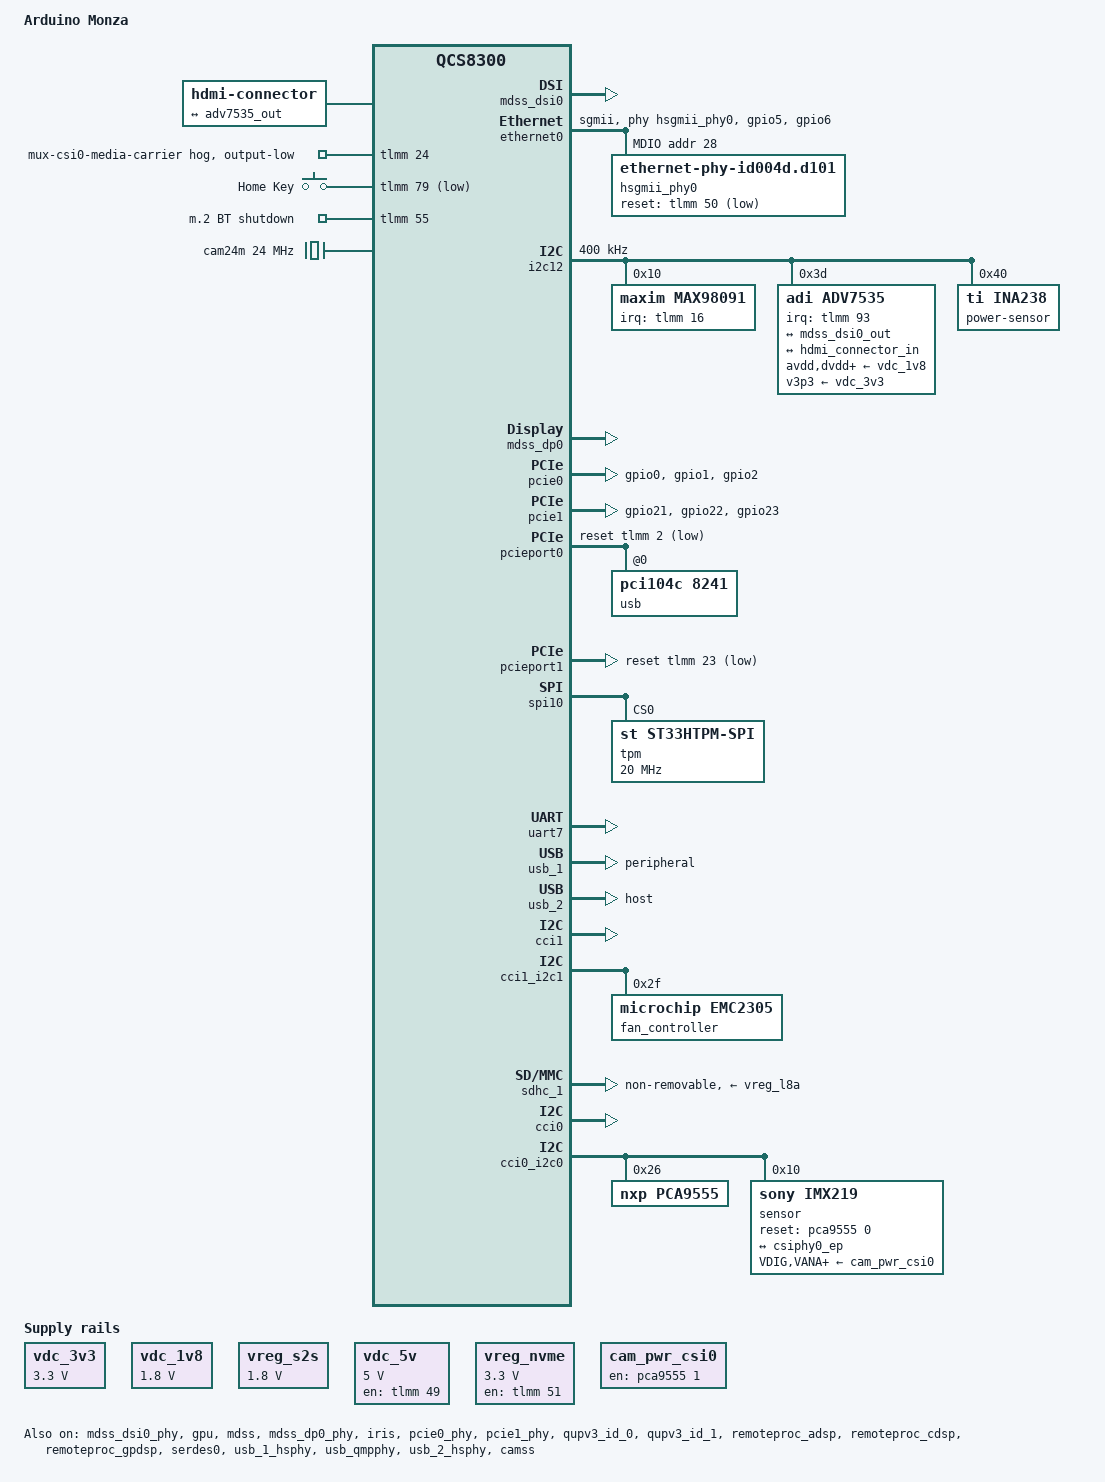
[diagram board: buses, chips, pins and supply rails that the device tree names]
// SPDX-License-Identifier: BSD-3-Clause
/*
 * Copyright (c) Qualcomm Technologies, Inc. and/or its subsidiaries.
 */

/dts-v1/;

#include <dt-bindings/gpio/gpio.h>
#include <dt-bindings/pwm/pwm.h>
#include <dt-bindings/sound/qcom,q6afe.h>
#include <dt-bindings/regulator/qcom,rpmh-regulator.h>
#include <dt-bindings/sound/qcom,q6dsp-lpass-ports.h>

#include "monaco.dtsi"
#include "monaco-pmics.dtsi"

/ {
	model = "Arduino Monza";
	compatible = "arduino,monza", "qcom,qcs8300";

	aliases {
		ethernet0 = &ethernet0;
		i2c1 = &i2c1;
		serial0 = &uart7;
	};

	chosen {
		stdout-path = "serial0:115200n8";
	};

	sound {
		compatible = "qcom,qcs8275-sndcard";
		model = "arduino-monza";
		audio-routing =	
				"IN12",  "Headset Mic12",
				"Headset Mic12",  "MICBIAS",
				"IN56",  "Headset Mic56",
				"Headset Mic56",  "MICBIAS",
				"MIC1",  "MICBIAS",
				"Headphone",  "HPL",
				"Headphone",  "HPR",
				"Receiver",  "RCVL",
				"Receiver",  "RCVR",
				"Speaker",  "SPKL",
				"Speaker",  "SPKR";

		pinctrl-0 = <&quad_mi2s_active>, <&quad_mclk_active>,  <&lpi_i2s4_active>;
		pinctrl-names = "default";

		pri-i2s-playback-dai-link {
			link-name = "Analog Playback";

			codec {
				sound-dai = <&max98091>;
			};

			cpu {
				sound-dai = <&q6apmbedai LPI_MI2S_RX_0>;
			};

			platform {
				sound-dai = <&q6apm>;
			};
		};

		pri-i2s-capture-dai-link {
			link-name = "Analog Capture";

			codec {
				sound-dai = <&max98091>;
			};

			cpu {
				sound-dai = <&q6apmbedai LPI_MI2S_TX_0>;
			};

			platform {
				sound-dai = <&q6apm>;
			};
		};

		hdmi-mi2s-playback-dai-link {
			link-name = "HDMI Playback";

			codec {
				sound-dai = <&adv7535>;
			};

			cpu {
				sound-dai = <&q6apmbedai LPI_MI2S_RX_4>;
			};

			platform {
				sound-dai = <&q6apm>;
			};
		};
	};

	vdc_3v3: regulator-vdc-3v3 {
		compatible = "regulator-fixed";
		regulator-name = "vdc_3v3";
		regulator-min-microvolt = <3300000>;
		regulator-max-microvolt = <3300000>;
		regulator-always-on;
		regulator-boot-on;
	};

	vdc_1v8: regulator-vdc-1v8 {
		compatible = "regulator-fixed";
		regulator-name = "vdc_1v8";
		regulator-min-microvolt = <1800000>;
		regulator-max-microvolt = <1800000>;
		regulator-always-on;
		regulator-boot-on;
	};
	/* This comes from a PMIC handled within the SAIL domain */
	vreg_s2s: vreg-s2s {
		compatible = "regulator-fixed";
		regulator-name = "vreg_s2s";

		regulator-min-microvolt = <1800000>;
		regulator-max-microvolt = <1800000>;
	};

	vdc_5v: vdc-5v {
		compatible = "regulator-fixed";
		regulator-name = "vdc_5v";

		regulator-min-microvolt = <5000000>;
		regulator-max-microvolt = <5000000>;
		gpio = <&tlmm 49 GPIO_ACTIVE_HIGH>;
		enable-active-high;
		regulator-always-on;
	};

	vreg_nvme: vreg-nvme {
		compatible = "regulator-fixed";
		regulator-name = "vreg_nvme";

		regulator-min-microvolt = <3300000>;
		regulator-max-microvolt = <3300000>;
		startup-delay-us = <20000>;
		enable-active-high;
		gpio = <&tlmm 51 GPIO_ACTIVE_HIGH>;
		regulator-always-on;
		regulator-boot-on;
	};


	hdmi-connector {
		compatible = "hdmi-connector";
		label = "hdmi";
		type = "a";

		port {
			hdmi_connector_in: endpoint {
				remote-endpoint = <&adv7535_out>;
			};
		};

		/* HPD is going to the bridge and GPIO_41 */
	};

	/* Should be moved in a proper pcie-m2-e-connector */
};

&apps_rsc {
	regulators-0 {
		compatible = "qcom,pmm8654au-rpmh-regulators";
		qcom,pmic-id = "a";

		vreg_l3a: ldo3 {
			regulator-name = "vreg_l3a";
			regulator-min-microvolt = <1200000>;
			regulator-max-microvolt = <1200000>;
			regulator-initial-mode = <RPMH_REGULATOR_MODE_HPM>;
			regulator-allow-set-load;
			regulator-allowed-modes = <RPMH_REGULATOR_MODE_HPM>;
		};

		vreg_l4a: ldo4 {
			regulator-name = "vreg_l4a";
			regulator-min-microvolt = <880000>;
			regulator-max-microvolt = <912000>;
			regulator-initial-mode = <RPMH_REGULATOR_MODE_HPM>;
			regulator-allow-set-load;
			regulator-allowed-modes = <RPMH_REGULATOR_MODE_HPM>;
		};

		vreg_l5a: ldo5 {
			regulator-name = "vreg_l5a";
			regulator-min-microvolt = <1200000>;
			regulator-max-microvolt = <1200000>;
			regulator-initial-mode = <RPMH_REGULATOR_MODE_HPM>;
			regulator-allow-set-load;
			regulator-allowed-modes = <RPMH_REGULATOR_MODE_HPM>;
		};

		vreg_l6a: ldo6 {
			regulator-name = "vreg_l6a";
			regulator-min-microvolt = <880000>;
			regulator-max-microvolt = <912000>;
			regulator-initial-mode = <RPMH_REGULATOR_MODE_HPM>;
			regulator-allow-set-load;
			regulator-allowed-modes = <RPMH_REGULATOR_MODE_HPM>;
		};

		vreg_l7a: ldo7 {
			regulator-name = "vreg_l7a";
			regulator-min-microvolt = <880000>;
			regulator-max-microvolt = <912000>;
			regulator-initial-mode = <RPMH_REGULATOR_MODE_HPM>;
			regulator-allow-set-load;
			regulator-allowed-modes = <RPMH_REGULATOR_MODE_HPM>;
		};

		vreg_l8a: ldo8 {
			regulator-name = "vreg_l8a";
			regulator-min-microvolt = <2504000>;
			regulator-max-microvolt = <2960000>;
			regulator-initial-mode = <RPMH_REGULATOR_MODE_HPM>;
			regulator-allow-set-load;
			regulator-allowed-modes = <RPMH_REGULATOR_MODE_HPM>;
		};

		vreg_l9a: ldo9 {
			regulator-name = "vreg_l9a";
			regulator-min-microvolt = <2970000>;
			regulator-max-microvolt = <3072000>;
			regulator-initial-mode = <RPMH_REGULATOR_MODE_HPM>;
			regulator-allow-set-load;
			regulator-allowed-modes = <RPMH_REGULATOR_MODE_HPM>;
		};
	};

	regulators-1 {
		compatible = "qcom,pmm8654au-rpmh-regulators";
		qcom,pmic-id = "c";

		vreg_s5c: smps5 {
			regulator-name = "vreg_s5c";
			regulator-min-microvolt = <1104000>;
			regulator-max-microvolt = <1104000>;
			regulator-initial-mode = <RPMH_REGULATOR_MODE_HPM>;
		};

		vreg_l1c: ldo1 {
			regulator-name = "vreg_l1c";
			regulator-min-microvolt = <300000>;
			regulator-max-microvolt = <512000>;
			regulator-initial-mode = <RPMH_REGULATOR_MODE_HPM>;
			regulator-allow-set-load;
			regulator-allowed-modes = <RPMH_REGULATOR_MODE_HPM>;
		};

		vreg_l2c: ldo2 {
			regulator-name = "vreg_l2c";
			regulator-min-microvolt = <900000>;
			regulator-max-microvolt = <904000>;
			regulator-initial-mode = <RPMH_REGULATOR_MODE_HPM>;
			regulator-allow-set-load;
			regulator-allowed-modes = <RPMH_REGULATOR_MODE_HPM>;
		};

		vreg_l4c: ldo4 {
			regulator-name = "vreg_l4c";
			regulator-min-microvolt = <1200000>;
			regulator-max-microvolt = <1200000>;
			regulator-initial-mode = <RPMH_REGULATOR_MODE_HPM>;
			regulator-allow-set-load;
			regulator-allowed-modes = <RPMH_REGULATOR_MODE_HPM>;
		};

		vreg_l7c: ldo7 {
			regulator-name = "vreg_l7c";
			regulator-min-microvolt = <1800000>;
			regulator-max-microvolt = <1800000>;
			regulator-initial-mode = <RPMH_REGULATOR_MODE_HPM>;
			regulator-allow-set-load;
			regulator-allowed-modes = <RPMH_REGULATOR_MODE_HPM>;
		};

		vreg_l8c: ldo8 {
			regulator-name = "vreg_l8c";
			regulator-min-microvolt = <1800000>;
			regulator-max-microvolt = <1800000>;
			regulator-initial-mode = <RPMH_REGULATOR_MODE_HPM>;
			regulator-allow-set-load;
			regulator-allowed-modes = <RPMH_REGULATOR_MODE_HPM>;
		};

		vreg_l9c: ldo9 {
			regulator-name = "vreg_l9c";
			regulator-min-microvolt = <1800000>;
			regulator-max-microvolt = <1800000>;
			regulator-initial-mode = <RPMH_REGULATOR_MODE_HPM>;
			regulator-allow-set-load;
			regulator-allowed-modes = <RPMH_REGULATOR_MODE_HPM>;
		};
	};
};

&mdss_dsi0 {
	status = "okay";
};

&mdss_dsi0_out {
	remote-endpoint = <&adv7535_in>;
	data-lanes = <0 1 2 3>;
};

&mdss_dsi0_phy {
	vdss-supply = <&vreg_l4a>;
	status = "okay";
};

&ethernet0 {
	phy-mode = "sgmii"; /* Should be phy-mode = "2500base-x", but cf https://lists.infradead.org/pipermail/linux-arm-kernel/2025-November/1077340.html */
	phy-handle = <&hsgmii_phy0>;

	pinctrl-0 = <&ethernet0_default>;
	pinctrl-names = "default";

	snps,mtl-rx-config = <&mtl_rx_setup>;
	snps,mtl-tx-config = <&mtl_tx_setup>;
//	nvmem-cells = <&mac_addr0>;
//	nvmem-cell-names = "mac-address";

	status = "okay";

	mdio {
		compatible = "snps,dwmac-mdio";
		#address-cells = <1>;
		#size-cells = <0>;

		hsgmii_phy0: ethernet-phy@1c {
			compatible = "ethernet-phy-id004d.d101";
			reg = <0x1c>;
			reset-gpios = <&tlmm 50 GPIO_ACTIVE_LOW>;
			reset-assert-us = <11000>;
			reset-deassert-us = <70000>;
		};
	};

	mtl_rx_setup: rx-queues-config {
		snps,rx-queues-to-use = <4>;
		snps,rx-sched-sp;

		queue0 {
			snps,dcb-algorithm;
			snps,map-to-dma-channel = <0x0>;
			snps,route-up;
			snps,priority = <0x1>;
		};

		queue1 {
			snps,dcb-algorithm;
			snps,map-to-dma-channel = <0x1>;
			snps,route-ptp;
		};

		queue2 {
			snps,avb-algorithm;
			snps,map-to-dma-channel = <0x2>;
			snps,route-avcp;
		};

		queue3 {
			snps,avb-algorithm;
			snps,map-to-dma-channel = <0x3>;
			snps,priority = <0xc>;
		};
	};

	mtl_tx_setup: tx-queues-config {
		snps,tx-queues-to-use = <4>;

		queue0 {
			snps,dcb-algorithm;
		};

		queue1 {
			snps,dcb-algorithm;
		};

		queue2 {
			snps,avb-algorithm;
			snps,send_slope = <0x1000>;
			snps,idle_slope = <0x1000>;
			snps,high_credit = <0x3e800>;
			snps,low_credit = <0xffc18000>;
		};

		queue3 {
			snps,avb-algorithm;
			snps,send_slope = <0x1000>;
			snps,idle_slope = <0x1000>;
			snps,high_credit = <0x3e800>;
			snps,low_credit = <0xffc18000>;
		};
	};
};

&gpi_dma0 {
	status = "okay";
};

&gpi_dma1 {
	status = "okay";
};

&gpu {
	status = "okay";
};

&gpu_zap_shader {
	firmware-name = "qcom/qcs8300/a623_zap.mbn";
};

&i2c12 {
	status = "okay";

	clock-frequency = <400000>;

	max98091: audio-codec@10 {
		compatible = "maxim,max98091";
		reg = <0x10>;
		pinctrl-0 = <&max98091_default>;
		pinctrl-names = "default";
		interrupts-extended = <&tlmm 16 IRQ_TYPE_LEVEL_HIGH>; /* GPIO_16 */
		//FIXME move this clk handling to machine driver.
		clocks = <&q6prmcc LPASS_CLK_ID_MCLK_3 LPASS_CLK_ATTRIBUTE_COUPLE_NO>;
		clock-names = "mclk";
		#sound-dai-cells = <0>;
	};

	adv7535: bridge@3d {
		compatible = "adi,adv7535";
		reg = <0x3d>;
		pinctrl-0 = <&adv7535_default>;
		pinctrl-names = "default";
		interrupts-extended = <&tlmm 93 IRQ_TYPE_EDGE_FALLING>;
		avdd-supply = <&vdc_1v8>;
		dvdd-supply = <&vdc_1v8>;
		pvdd-supply = <&vdc_1v8>;
		a2vdd-supply = <&vdc_1v8>;
		v3p3-supply = <&vdc_3v3>;
		v1p2-supply = <&vdc_1v8>;
		adi,dsi-lanes = <4>;
		#sound-dai-cells = <0>;

		ports {
			#address-cells = <1>;
			#size-cells = <0>;

			port@0 {
				reg = <0>;
				adv7535_in: endpoint {
					remote-endpoint = <&mdss_dsi0_out>;
				};
			};

			port@1 {
				reg = <1>;
				adv7535_out: endpoint {
					remote-endpoint = <&hdmi_connector_in>;
				};
			};
		};
	};

	power-sensor@40 {
		compatible = "ti,ina238";
		reg = <0x40>;
		shunt-resistor = <2000>;
	};
};


&i2c1 {
	pinctrl-0 = <&qup_i2c1_default>;
	pinctrl-names = "default";
	
	status = "disabled";
};

&i2c15 {
	pinctrl-0 = <&qup_i2c15_default>;
	pinctrl-names = "default";

	status = "disabled";

	expander0: gpio@38 {
		compatible = "ti,tca9538";
		reg = <0x38>;
		#gpio-cells = <2>;
		gpio-controller;
	};

	expander1: gpio@39 {
		compatible = "ti,tca9538";
		reg = <0x39>;
		#gpio-cells = <2>;
		gpio-controller;
	};

	expander2: gpio@3a {
		compatible = "ti,tca9538";
		reg = <0x3a>;
		#gpio-cells = <2>;
		gpio-controller;
	};

	expander3: gpio@3b {
		compatible = "ti,tca9538";
		reg = <0x3b>;
		#gpio-cells = <2>;
		gpio-controller;
	};

	expander4: gpio@3c {
		compatible = "ti,tca9538";
		reg = <0x3c>;
		#gpio-cells = <2>;
		gpio-controller;
	};

	expander5: gpio@3d {
		compatible = "ti,tca9538";
		reg = <0x3d>;
		#gpio-cells = <2>;
		gpio-controller;
	};

	expander6: gpio@3e {
		compatible = "ti,tca9538";
		reg = <0x3e>;
		#gpio-cells = <2>;
		gpio-controller;
	};
};

&mdss {
	status = "okay";
};

&mdss_dp0 {
	pinctrl-0 = <&dp_hot_plug_det>;
	pinctrl-names = "default";

	status = "okay";
};

&mdss_dp0_out {
	data-lanes = <0 1 2 3>;
	link-frequencies = /bits/ 64 <1620000000 2700000000 5400000000 8100000000>;
};

&mdss_dp0_phy {
	vdda-phy-supply = <&vreg_l5a>;
	vdda-pll-supply = <&vreg_l4a>;

	status = "okay";
};

&iris {
	status = "okay";
};

&pcie0 {
	pinctrl-0 = <&pcie0_default_state>;
	pinctrl-names = "default";
	iommu-map = <0x0 &pcie_smmu 0x0000 0x1>,
                    <0x100 &pcie_smmu 0x0001 0x1>,
                    <0x200 &pcie_smmu 0x0007 0x1>,
                    <0x208 &pcie_smmu 0x0002 0x1>,
                    <0x210 &pcie_smmu 0x0003 0x1>,
                    <0x218 &pcie_smmu 0x0004 0x1>,
                    <0x300 &pcie_smmu 0x0005 0x1>,
                    <0x400 &pcie_smmu 0x0006 0x1>;
	status = "okay";
};

&pcie0_phy {
	vdda-phy-supply = <&vreg_l6a>;
	vdda-pll-supply = <&vreg_l5a>;

	status = "okay";
};

&pcie1 {
	pinctrl-0 = <&pcie1_default_state>;
	pinctrl-names = "default";

	status = "okay";
};

&pcie1_phy {
	vdda-phy-supply = <&vreg_l6a>;
	vdda-pll-supply = <&vreg_l5a>;

	status = "okay";
};

&pcieport0 {
	reset-gpios = <&tlmm 2 GPIO_ACTIVE_LOW>;
	wake-gpios = <&tlmm 0 GPIO_ACTIVE_HIGH>;
};

&pcieport1 {
	reset-gpios = <&tlmm 23 GPIO_ACTIVE_LOW>;
	wake-gpios = <&tlmm 21 GPIO_ACTIVE_HIGH>;
};

&qup_i2c0_data_clk {
	drive-strength = <2>;
	bias-pull-up;
};

&qupv3_id_0 {
	firmware-name = "qcom/qcs8300/qupv3fw.elf";
	status = "okay";
};

&qupv3_id_1 {
	firmware-name = "qcom/qcs8300/qupv3fw.elf";
	status = "okay";
};

&remoteproc_adsp {
	firmware-name = "qcom/qcs8300/adsp.mbn";

	status = "okay";
};

&remoteproc_cdsp {
	firmware-name = "qcom/qcs8300/cdsp0.mbn";

	status = "okay";
};

&remoteproc_gpdsp {
	firmware-name = "qcom/qcs8300/gpdsp0.mbn";

	status = "okay";
};

&serdes0 {
	phy-supply = <&vreg_l4a>;

	status = "okay";
};

&spi10 {
	status = "okay";

	tpm@0 {
		compatible = "st,st33htpm-spi", "tcg,tpm_tis-spi";
		reg = <0>;
		spi-max-frequency = <20000000>;
	};
};

&tlmm {
       adv7535_default: adv7535-default-state {
               pins = "gpio93";
               function = "gpio";
               bias-pull-up;
       };

	max98091_default: max98091-default-state {
		pins = "gpio16";
		function = "gpio";
		bias-pull-up;
	};

	pcie0_default_state: pcie0-default-state {
		wake-pins {
			pins = "gpio0";
			function = "gpio";
			drive-strength = <2>;
			bias-pull-up;
		};

		clkreq-pins {
			pins = "gpio1";
			function = "pcie0_clkreq";
			drive-strength = <2>;
			bias-pull-up;
		};

		perst-pins {
			pins = "gpio2";
			function = "gpio";
			drive-strength = <2>;
			bias-pull-up;
		};
	};

	ethernet0_default: ethernet0-default-state {
		ethernet0_mdc: ethernet0-mdc-pins {
			pins = "gpio5";
			function = "emac0_mdc";
			drive-strength = <16>;
			bias-pull-up;
		};

		ethernet0_mdio: ethernet0-mdio-pins {
			pins = "gpio6";
			function = "emac0_mdio";
			drive-strength = <16>;
			bias-pull-up;
		};
	};

	qup_i2c1_default: qup-i2c1-state {
		pins = "gpio19", "gpio20";
		function = "qup0_se1";
		drive-strength = <2>;
		bias-pull-up;
	};

	pcie1_default_state: pcie1-default-state {
		wake-pins {
			pins = "gpio21";
			function = "gpio";
			drive-strength = <2>;
			bias-pull-up;
		};

		clkreq-pins {
			pins = "gpio22";
			function = "pcie1_clkreq";
			drive-strength = <2>;
			bias-pull-up;
		};

		perst-pins {
			pins = "gpio23";
			function = "gpio";
			drive-strength = <2>;
			bias-pull-up;
		};
	};

	qup_i2c15_default: qup-i2c15-state {
		pins = "gpio91", "gpio92";
		function = "qup1_se7";
		drive-strength = <2>;
		bias-pull-up;
	};
};

&uart7 {
	status = "okay";
};

&usb_1 {
	dr_mode = "peripheral";

	status = "okay";
};

&usb_1_hsphy {
	vdda-pll-supply = <&vreg_l7a>;
	vdda18-supply = <&vreg_l7c>;
	vdda33-supply = <&vreg_l9a>;

	status = "okay";
};

&usb_qmpphy {
	vdda-phy-supply = <&vreg_l7a>;
	vdda-pll-supply = <&vreg_l5a>;

	status = "okay";
};

&usb_2_hsphy {
	vdda-pll-supply = <&vreg_l7a>;
	vdda18-supply = <&vreg_l7c>;
	vdda33-supply = <&vreg_l9a>;

	status = "okay";
};

&usb_2 {
	dr_mode = "host";
	status = "okay";
};

&cci1 {
	status = "okay";
};

&cci1_i2c1 {
	#address-cells = <1>;
	#size-cells = <0>;

	fan_controller: fan-controller@2f {
		compatible = "microchip,emc2305";
		reg = <0x2f>;
		#address-cells = <1>;
		#size-cells = <0>;
		#pwm-cells = <3>;

		fan@0 {
			reg = <0x0>;
			pwms = <&fan_controller 26000 PWM_POLARITY_INVERTED 1>;
			#cooling-cells = <2>;
		};
	};
};

&sdhc_1 {
	vmmc-supply = <&vreg_l8a>;
	vqmmc-supply = <&vreg_s2s>;

	no-sd;
	no-sdio;
	non-removable;

	status = "okay";
};

/* Button */

&tlmm {
	gpio_keys_default: gpio-keys-default-state {
                pins = "gpio79";
                function = "gpio";
                bias-disable; /* external pull-up */
        };
};

&{/} {
	gpio-keys {
		compatible = "gpio-keys";
		pinctrl-0 = <&gpio_keys_default>;
		pinctrl-names = "default";

		button-home {
			label = "Home Key";
			linux,code = <KEY_HOMEPAGE>;
			gpios = <&tlmm 79 GPIO_ACTIVE_LOW>;
			debounce-interval = <60>;
		};
	};
};

/* Camera */
&{/} {
	cam_pwr_csi0: cam-pwr-csi0 {
		compatible = "regulator-fixed";
		regulator-name = "cam-pwr";
		startup-delay-us = <100000>;
		gpio = <&pca9555 1 GPIO_ACTIVE_HIGH>;
		enable-active-high;
	};
};

&tlmm {
	mux-csi0-media-carrier {
		gpio-hog;
		gpios = <24 0>;
		output-low;
	};
};


&clocks {
        cam24m: cam-clk {
                compatible = "fixed-clock";
                #clock-cells = <0>;
                clock-frequency = <24000000>;
                clock-output-names = "cam24m";
        };
};

&camss {
	vdda-phy-supply = <&vreg_l4a>;
	vdda-pll-supply = <&vreg_l5a>;

	status = "okay";

	ports {
		#address-cells = <1>;
		#size-cells = <0>;

		port@0 {
			reg = <0>;

			csiphy0_ep: endpoint {
				data-lanes = <0 1>;
				remote-endpoint = <&imx219_0_ep>;
			};
		};
	};

};

&cci0 {
	status = "okay";
};

&cci0_i2c0 {
	#address-cells = <1>;
	#size-cells = <0>;

	pca9555: gpio@26 {
		compatible = "nxp,pca9555";
		reg = <0x26>;
		gpio-controller;
		#gpio-cells = <2>;
	};

	sensor@10 {
		compatible = "sony,imx219";
		reg = <0x10>;
		clocks = <&cam24m>;
		status = "okay";

		VDIG-supply = <&cam_pwr_csi0>;
		VANA-supply = <&cam_pwr_csi0>;
		VDDL-supply = <&cam_pwr_csi0>;

		reset-gpios = <&pca9555 0 GPIO_ACTIVE_HIGH>;

		port {
			/* MIPI CSI-2 bus endpoint */
			imx219_0_ep: endpoint {
				remote-endpoint = <&csiphy0_ep>;
				clock-lanes = <0>;
				data-lanes = <1 2>;
				link-frequencies = /bits/ 64 <456000000>;
			};
		};
	};
};

/* Bluetooth */
&{/} {
	/* Should be moved in a proper pcie-m2-e-connector */
	rfkill-m2-bluetooth {
		compatible = "rfkill-gpio";
		label = "m.2 BT";
		radio-type = "bluetooth";
		/* rfkill-gpio inverts internally */
		shutdown-gpios = <&tlmm 55 GPIO_ACTIVE_HIGH>;
	};
};

&dp_hot_plug_det {
	pins = "gpio91";
	function = "edp0_hot";
	bias-disable;
};

/* Fix PCIe/USB pwron# polarity (hierarchy found from PCI_DYNAMIC_OF_NODES) */
&pcieport0 {
	pci@0,0 { /* Switch */
                #address-cells = <3>;
                #size-cells = <2>;
		device_type = "pci";
		bus-range = <0x01 0xff>;
		ranges;
                reg = <0x010000 0x00 0x00 0x00 0x00>;

		pci@2,0 {
			#address-cells = <3>;
			#size-cells = <2>;
			device_type = "pci";
			bus-range = <0x00 0xff>;
			ranges;
			reg = <0x021000 0x00 0x00 0x00 0x00>;

			usb@0 {
				compatible = "pci104c,8241";
				reg = <0 0 0 0 0>;
				ti,pwron-active-high;
			};
		};
        };
};
